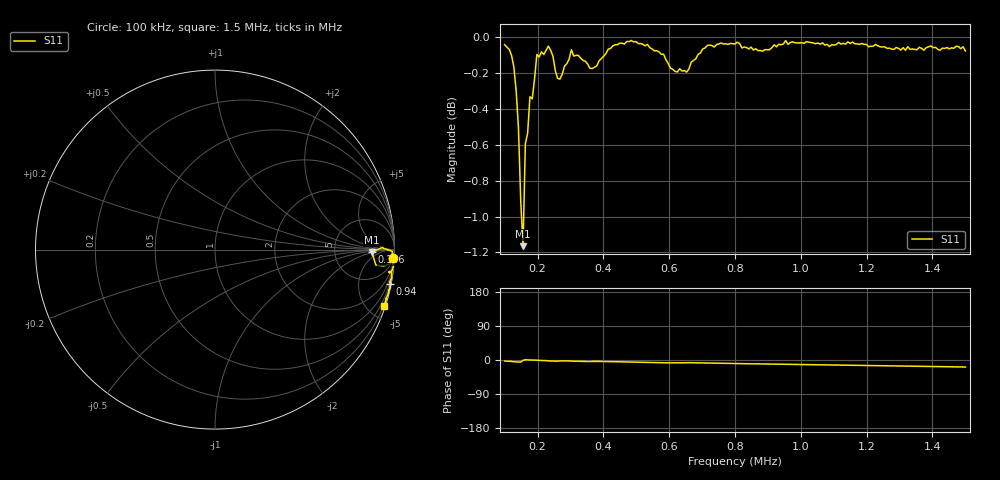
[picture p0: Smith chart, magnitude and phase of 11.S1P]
!Agilent Technologies,E5071C,MY46100305,A.07.02
!Date: Fri Jan 01 01:31:31 1988
!Data & Calibration Information:
!Freq	S11:SOLT1(ON)
# Hz S MA R 50
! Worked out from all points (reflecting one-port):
!   201 points, 100 kHz to 1.5 MHz, reference 50 ohm
!   lowest |S11| = -1.2 dB at 156 kHz (marker M1), VSWR 14.93, Z = 735 - j90.8 ohm
!   phase of S11 starts at -3 deg and turns -16 deg over the sweep
!   S11 on the Smith chart (normalised r, x): 100 kHz: 4, -41; 156 kHz: 15, -2; 940 kHz: 0, -10; 1.5 MHz: 0.17, -6.14
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100000  0.9952 -2.7
128000  0.9812 -4.6
142000  0.9438 -5.5
149000  0.9001 -5.5
156000  0.8745 -1.0
163000  0.9338 0.8
170000  0.9404 0.3
177000  0.9625 -0.0
184000  0.9612 -0.1
198000  0.989 -0.6
226000  0.9916 -1.5
247000  0.9877 -2.9
261000  0.9739 -2.9
275000  0.9765 -2.4
303000  0.992 -2.9
352000  0.983 -4.0
366000  0.9801 -3.8
401000  0.9878 -3.8
450000  0.9962 -4.8
597000  0.9833 -7.6
625000  0.9779 -7.3
681000  0.9863 -7.2
800000  0.9957 -9.4
940000  0.9952 -11.0
975000  0.997 -11.5
1150000  0.9959 -13.9
1325000  0.9939 -16.2
1500000  0.9912 -18.5
